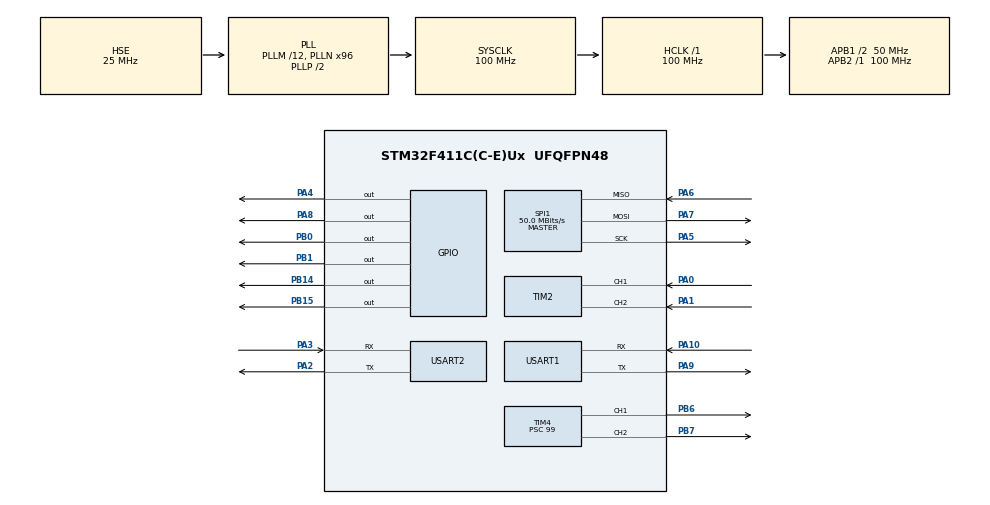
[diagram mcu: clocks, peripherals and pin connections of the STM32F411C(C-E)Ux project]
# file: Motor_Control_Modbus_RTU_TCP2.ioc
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Dma.Request0=USART2_RX
Dma.Request1=USART2_TX
Dma.USART2_RX.0.Direction=DMA_PERIPH_TO_MEMORY
Dma.USART2_RX.0.FIFOMode=DMA_FIFOMODE_DISABLE
Dma.USART2_RX.0.Instance=DMA1_Stream5
Dma.USART2_RX.0.MemDataAlignment=DMA_MDATAALIGN_BYTE
Dma.USART2_RX.0.MemInc=DMA_MINC_ENABLE
Dma.USART2_RX.0.Mode=DMA_CIRCULAR
Dma.USART2_RX.0.PeriphDataAlignment=DMA_PDATAALIGN_BYTE
Dma.USART2_RX.0.PeriphInc=DMA_PINC_DISABLE
Dma.USART2_RX.0.Priority=DMA_PRIORITY_LOW
Dma.USART2_TX.1.Direction=DMA_MEMORY_TO_PERIPH
Dma.USART2_TX.1.FIFOMode=DMA_FIFOMODE_DISABLE
Dma.USART2_TX.1.Instance=DMA1_Stream6
Dma.USART2_TX.1.MemDataAlignment=DMA_MDATAALIGN_BYTE
Dma.USART2_TX.1.MemInc=DMA_MINC_ENABLE
Dma.USART2_TX.1.Mode=DMA_NORMAL
Dma.USART2_TX.1.PeriphDataAlignment=DMA_PDATAALIGN_BYTE
Dma.USART2_TX.1.PeriphInc=DMA_PINC_DISABLE
Dma.USART2_TX.1.Priority=DMA_PRIORITY_LOW
FREERTOS.Tasks01=MODBUS_TCP_Task,16,256,Start_MODBUS_TCP_Task,Default,NULL,Dynamic,NULL,NULL;MODBUS_RTU_Task,24,256,Start_MODBUS_RTU_Task,Default,NULL,Dynamic,NULL,NULL;Monitor_Task,8,540,Start_Monitor_Task,Default,NULL,Dynamic,NULL,NULL;Watchdog_Task,8,128,Start_Watchdog_Task,Default,NULL,Dynamic,NULL,NULL;Motor_Task,40,512,Start_Motor_Task,Default,NULL,Dynamic,NULL,NULL
FREERTOS.configCHECK_FOR_STACK_OVERFLOW=2
FREERTOS.configGENERATE_RUN_TIME_STATS=1
FREERTOS.configUSE_IDLE_HOOK=1
FREERTOS.configUSE_NEWLIB_REENTRANT=1
FREERTOS.configUSE_STATS_FORMATTING_FUNCTIONS=1
IWDG.Prescaler=IWDG_PRESCALER_16
IWDG.Reload=3000
Mcu.Family=STM32F4
Mcu.Name=STM32F411C(C-E)Ux
Mcu.Package=UFQFPN48
NVIC.DMA1_Stream5_IRQn=true\:5\:0\:false\:false\:true\:true\:false\:true\:true
NVIC.DMA1_Stream6_IRQn=true\:5\:0\:false\:false\:true\:true\:false\:true\:true
NVIC.PriorityGroup=NVIC_PRIORITYGROUP_4
NVIC.SPI1_IRQn=true\:5\:0\:false\:false\:true\:true\:true\:true\:true
NVIC.TIM1_BRK_TIM9_IRQn=true\:5\:0\:false\:false\:true\:true\:true\:true\:true
NVIC.TIM1_TRG_COM_TIM11_IRQn=true\:15\:0\:false\:false\:true\:false\:false\:true\:true
NVIC.TIM1_UP_TIM10_IRQn=true\:5\:0\:false\:false\:true\:true\:true\:true\:true
NVIC.TimeBase=TIM1_TRG_COM_TIM11_IRQn
NVIC.TimeBaseIP=TIM11
NVIC.USART2_IRQn=true\:5\:0\:false\:false\:true\:true\:true\:true\:true
PA0-WKUP.Signal=S_TIM2_CH1_ETR
PA1.Signal=S_TIM2_CH2
PA10.Mode=Asynchronous
PA10.Signal=USART1_RX
PA2.Mode=Asynchronous
PA2.Signal=USART2_TX
PA3.Mode=Asynchronous
PA3.Signal=USART2_RX
PA4.Signal=GPIO_Output
PA5.Mode=Full_Duplex_Master
PA5.Signal=SPI1_SCK
PA6.Mode=Full_Duplex_Master
PA6.Signal=SPI1_MISO
PA7.Mode=Full_Duplex_Master
PA7.Signal=SPI1_MOSI
PA8.Signal=GPIO_Output
PA9.Mode=Asynchronous
PA9.Signal=USART1_TX
PB0.Signal=GPIO_Output
PB1.Signal=GPIO_Output
PB14.Signal=GPIO_Output
PB15.Signal=GPIO_Output
PB6.Signal=S_TIM4_CH1
PB7.Signal=S_TIM4_CH2
PH0\ -\ OSC_IN.Mode=HSE-External-Oscillator
PH0\ -\ OSC_IN.Signal=RCC_OSC_IN
PH1\ -\ OSC_OUT.Mode=HSE-External-Oscillator
PH1\ -\ OSC_OUT.Signal=RCC_OSC_OUT
ProjectManager.HeapSize=0x200
ProjectManager.StackSize=0x400
ProjectManager.TargetToolchain=STM32CubeIDE
RCC.48MHZClocksFreq_Value=50000000
RCC.AHBFreq_Value=100000000
RCC.APB1CLKDivider=RCC_HCLK_DIV2
RCC.APB1Freq_Value=50000000
RCC.APB1TimFreq_Value=100000000
RCC.APB2Freq_Value=100000000
RCC.APB2TimFreq_Value=100000000
RCC.CortexFreq_Value=100000000
RCC.HCLKFreq_Value=100000000
RCC.HSE_VALUE=25000000
RCC.HSI_VALUE=16000000
RCC.LSE_VALUE=32768
RCC.PLLM=12
RCC.PLLN=96
RCC.PLLSourceVirtual=RCC_PLLSOURCE_HSE
RCC.SYSCLKFreq_VALUE=100000000
RCC.SYSCLKSource=RCC_SYSCLKSOURCE_PLLCLK
RCC.VCOOutputFreq_Value=200000000
SH.S_TIM2_CH1_ETR.0=TIM2_CH1,Encoder_Interface
SH.S_TIM2_CH2.0=TIM2_CH2,Encoder_Interface
SH.S_TIM4_CH1.0=TIM4_CH1,PWM Generation1 CH1
SH.S_TIM4_CH2.0=TIM4_CH2,PWM Generation2 CH2
SPI1.CalculateBaudRate=50.0 MBits/s
SPI1.Direction=SPI_DIRECTION_2LINES
SPI1.Mode=SPI_MODE_MASTER
SPI1.VirtualType=VM_MASTER
TIM10.Period=999
TIM2.AutoReloadPreload=TIM_AUTORELOAD_PRELOAD_ENABLE
TIM2.EncoderMode=TIM_ENCODERMODE_TI12
TIM2.IC1Filter=6
TIM2.IC2Filter=6
TIM4.Channel-PWM\ Generation1\ CH1=TIM_CHANNEL_1
TIM4.Channel-PWM\ Generation2\ CH2=TIM_CHANNEL_2
TIM4.Period=799
TIM4.Prescaler=99
TIM9.Period=999
TIM9.Prescaler=99
USART1.VirtualMode=VM_ASYNC
USART2.VirtualMode=VM_ASYNC
VP_FREERTOS_VS_CMSIS_V2.Mode=CMSIS_V2
VP_IWDG_VS_IWDG.Mode=IWDG_Activate
VP_SYS_VS_tim11.Mode=TIM11
VP_TIM10_VS_ClockSourceINT.Mode=Enable_Timer
VP_TIM9_VS_ClockSourceINT.Mode=Internal
board=custom

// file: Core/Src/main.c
/* USER CODE BEGIN Header */
/**
  ******************************************************************************
  * @file           : main.c
  * @brief          : Main program body
  ******************************************************************************
  * @attention
  *
  * Copyright (c) 2026 STMicroelectronics.
  * All rights reserved.
  *
  * This software is licensed under terms that can be found in the LICENSE file
  * in the root directory of this software component.
  * If no LICENSE file comes with this software, it is provided AS-IS.
  *
  ******************************************************************************
  */
/* USER CODE END Header */
#include "main.h"
#include "cmsis_os.h"

/* USER CODE BEGIN Includes */
#include <string.h>
#include <stdio.h>
#include <stdlib.h>
#include <math.h>
#include "motor.h"
#include "uart_rs_485.h"
#include "register_map.h"
#include "wizchip_conf.h"
#include "socket.h"
#include "ethernet_config.h"
#include "ethernet.h"
/* USER CODE END Includes */

IWDG_HandleTypeDef hiwdg;

SPI_HandleTypeDef hspi1;

TIM_HandleTypeDef htim2;
TIM_HandleTypeDef htim4;
TIM_HandleTypeDef htim9;
TIM_HandleTypeDef htim10;

UART_HandleTypeDef huart1;
UART_HandleTypeDef huart2;
DMA_HandleTypeDef hdma_usart2_rx;
DMA_HandleTypeDef hdma_usart2_tx;

/* Definitions for MODBUS_TCP_Task */
osThreadId_t MODBUS_TCP_TaskHandle;
const osThreadAttr_t MODBUS_TCP_Task_attributes = {
  .name = "MODBUS_TCP_Task",
  .stack_size = 256 * 4,
  .priority = (osPriority_t) osPriorityBelowNormal,
};
/* Definitions for MODBUS_RTU_Task */
osThreadId_t MODBUS_RTU_TaskHandle;
const osThreadAttr_t MODBUS_RTU_Task_attributes = {
  .name = "MODBUS_RTU_Task",
  .stack_size = 256 * 4,
  .priority = (osPriority_t) osPriorityNormal,
};
/* Definitions for Monitor_Task */
osThreadId_t Monitor_TaskHandle;
const osThreadAttr_t Monitor_Task_attributes = {
  .name = "Monitor_Task",
  .stack_size = 540 * 4,
  .priority = (osPriority_t) osPriorityLow,
};
/* Definitions for Watchdog_Task */
osThreadId_t Watchdog_TaskHandle;
const osThreadAttr_t Watchdog_Task_attributes = {
  .name = "Watchdog_Task",
  .stack_size = 128 * 4,
  .priority = (osPriority_t) osPriorityLow,
};
/* Definitions for Motor_Task */
osThreadId_t Motor_TaskHandle;
const osThreadAttr_t Motor_Task_attributes = {
  .name = "Motor_Task",
  .stack_size = 128 * 4,
  .priority = (osPriority_t) osPriorityHigh,
};

void SystemClock_Config(void);
static void MX_GPIO_Init(void);
static void MX_DMA_Init(void);
static void MX_TIM2_Init(void);
static void MX_TIM4_Init(void);
static void MX_USART2_UART_Init(void);
static void MX_TIM10_Init(void);
static void MX_USART1_UART_Init(void);
static void MX_TIM9_Init(void);
static void MX_SPI1_Init(void);
static void MX_IWDG_Init(void);
void Start_MODBUS_TCP_Task(void *argument);
void Start_MODBUS_RTU_Task(void *argument);
void Start_Monitor_Task(void *argument);
void Start_Watchdog_Task(void *argument);
void Start_Motor_Task(void *argument);

/* USER CODE BEGIN 0 */
extern volatile int32_t encoder_position;
extern volatile uint32_t encoder_last_cnt;
extern volatile float motor_rpm;
extern volatile float pwm;
extern volatile float target_rpm_cmd;
extern volatile float target_rpm_ramped;
extern volatile int32_t target_position;
extern volatile float position_speed_cmd;
extern volatile uint8_t position_reached;
extern PID_t motor_pid;

extern MotorMode_t motor_mode;

extern uint8_t rx_buf[RX_BUF_SIZE];
extern volatile uint8_t uart_idle_flag;
static volatile uint32_t rx_last_pos = 0;
volatile uint32_t uart_rx_total_bytes = 0;
extern volatile uint32_t rx_overflow_count;
extern volatile uint8_t rx_overflow_flag;
uint32_t last_bmp_tick = 0;
uint8_t line_buf[LINE_MAX_LEN];
volatile float motor_rpm_raw = 0;
uint8_t speed_locked;
float locked_pwm;

volatile uint32_t wd_tcp_counter = 0;
volatile uint32_t wd_rtu_counter = 0;
volatile uint32_t wd_control_counter = 0;

volatile uint32_t ulHighFrequencyTimerTicks = 0U;

void configureTimerForRunTimeStats(void){
	ulHighFrequencyTimerTicks = 0U;
	HAL_TIM_Base_Start_IT(&htim10);
}
unsigned long getRunTimeCounterValue(void){
	return (unsigned long)ulHighFrequencyTimerTicks;
}
/* USER CODE END 0 */

int main(void)
{

  /* MCU Configuration--------------------------------------------------------*/

  /* Reset of all peripherals, Initializes the Flash interface and the Systick. */
  HAL_Init();

  /* Configure the system clock */
  SystemClock_Config();

  /* Initialize all configured peripherals */
  MX_GPIO_Init();
  MX_DMA_Init();
  MX_TIM2_Init();
  MX_TIM4_Init();
  MX_USART2_UART_Init();
  MX_TIM10_Init();
  MX_USART1_UART_Init();
  MX_TIM9_Init();
  MX_SPI1_Init();
  MX_IWDG_Init();
  /* USER CODE BEGIN 2 */
  Encoder_Start();
  HAL_TIM_PWM_Start(&htim4, TIM_CHANNEL_1);
  HAL_TIM_PWM_Start(&htim4, TIM_CHANNEL_2);
  RS485_RX_ENABLE();
  __HAL_UART_ENABLE_IT(&huart2, UART_IT_TC);
  uart_dma_rx_start();
  reg_wizchip_cs_cbfunc(wizchip_select, wizchip_deselect);
  reg_wizchip_spi_cbfunc(wizchip_read, wizchip_write);
  W5500_Reset();
  uint8_t txsize[8] = {2,2,2,2,2,2,2,2};
  uint8_t rxsize[8] = {2,2,2,2,2,2,2,2};
  wizchip_init(txsize, rxsize);
  Ethernet_Init();
  HAL_TIM_Base_Start_IT(&htim9);
  /* USER CODE END 2 */

  /* Init scheduler */
  osKernelInitialize();

  /* Create the thread(s) */
  /* creation of MODBUS_TCP_Task */
  MODBUS_TCP_TaskHandle = osThreadNew(Start_MODBUS_TCP_Task, NULL, &MODBUS_TCP_Task_attributes);

  /* creation of MODBUS_RTU_Task */
  MODBUS_RTU_TaskHandle = osThreadNew(Start_MODBUS_RTU_Task, NULL, &MODBUS_RTU_Task_attributes);

  /* creation of Monitor_Task */
  Monitor_TaskHandle = osThreadNew(Start_Monitor_Task, NULL, &Monitor_Task_attributes);

  /* creation of Watchdog_Task */
  Watchdog_TaskHandle = osThreadNew(Start_Watchdog_Task, NULL, &Watchdog_Task_attributes);

  /* creation of Motor_Task */
  Motor_TaskHandle = osThreadNew(Start_Motor_Task, NULL, &Motor_Task_attributes);

  /* Start scheduler */
  osKernelStart();

  /* We should never get here as control is now taken by the scheduler */

  /* Infinite loop */
  while (1)
  {

  }
}

void SystemClock_Config(void)
{
  RCC_OscInitTypeDef RCC_OscInitStruct = {0};
  RCC_ClkInitTypeDef RCC_ClkInitStruct = {0};

  /** Configure the main internal regulator output voltage
  */
  __HAL_RCC_PWR_CLK_ENABLE();
  __HAL_PWR_VOLTAGESCALING_CONFIG(PWR_REGULATOR_VOLTAGE_SCALE1);

  /** Initializes the RCC Oscillators according to the specified parameters
  * in the RCC_OscInitTypeDef structure.
  */
  RCC_OscInitStruct.OscillatorType = RCC_OSCILLATORTYPE_LSI|RCC_OSCILLATORTYPE_HSE;
  RCC_OscInitStruct.HSEState = RCC_HSE_ON;
  RCC_OscInitStruct.LSIState = RCC_LSI_ON;
  RCC_OscInitStruct.PLL.PLLState = RCC_PLL_ON;
  RCC_OscInitStruct.PLL.PLLSource = RCC_PLLSOURCE_HSE;
  RCC_OscInitStruct.PLL.PLLM = 12;
  RCC_OscInitStruct.PLL.PLLN = 96;
  RCC_OscInitStruct.PLL.PLLP = RCC_PLLP_DIV2;
  RCC_OscInitStruct.PLL.PLLQ = 4;
  if (HAL_RCC_OscConfig(&RCC_OscInitStruct) != HAL_OK)
  {
    Error_Handler();
  }

  /** Initializes the CPU, AHB and APB buses clocks
  */
  RCC_ClkInitStruct.ClockType = RCC_CLOCKTYPE_HCLK|RCC_CLOCKTYPE_SYSCLK
                              |RCC_CLOCKTYPE_PCLK1|RCC_CLOCKTYPE_PCLK2;
  RCC_ClkInitStruct.SYSCLKSource = RCC_SYSCLKSOURCE_PLLCLK;
  RCC_ClkInitStruct.AHBCLKDivider = RCC_SYSCLK_DIV1;
  RCC_ClkInitStruct.APB1CLKDivider = RCC_HCLK_DIV2;
  RCC_ClkInitStruct.APB2CLKDivider = RCC_HCLK_DIV1;

  if (HAL_RCC_ClockConfig(&RCC_ClkInitStruct, FLASH_LATENCY_3) != HAL_OK)
  {
    Error_Handler();
  }
}

static void MX_IWDG_Init(void)
{

  hiwdg.Instance = IWDG;
  hiwdg.Init.Prescaler = IWDG_PRESCALER_16;
  hiwdg.Init.Reload = 3000;
  if (HAL_IWDG_Init(&hiwdg) != HAL_OK)
  {
    Error_Handler();
  }

}

static void MX_SPI1_Init(void)
{

  /* SPI1 parameter configuration*/
  hspi1.Instance = SPI1;
  hspi1.Init.Mode = SPI_MODE_MASTER;
  hspi1.Init.Direction = SPI_DIRECTION_2LINES;
  hspi1.Init.DataSize = SPI_DATASIZE_8BIT;
  hspi1.Init.CLKPolarity = SPI_POLARITY_LOW;
  hspi1.Init.CLKPhase = SPI_PHASE_1EDGE;
  hspi1.Init.NSS = SPI_NSS_SOFT;
  hspi1.Init.BaudRatePrescaler = SPI_BAUDRATEPRESCALER_2;
  hspi1.Init.FirstBit = SPI_FIRSTBIT_MSB;
  hspi1.Init.TIMode = SPI_TIMODE_DISABLE;
  hspi1.Init.CRCCalculation = SPI_CRCCALCULATION_DISABLE;
  hspi1.Init.CRCPolynomial = 10;
  if (HAL_SPI_Init(&hspi1) != HAL_OK)
  {
    Error_Handler();
  }

}

static void MX_TIM2_Init(void)
{

  TIM_Encoder_InitTypeDef sConfig = {0};
  TIM_MasterConfigTypeDef sMasterConfig = {0};

  htim2.Instance = TIM2;
  htim2.Init.Prescaler = 0;
  htim2.Init.CounterMode = TIM_COUNTERMODE_UP;
  htim2.Init.Period = 4294967295;
  htim2.Init.ClockDivision = TIM_CLOCKDIVISION_DIV1;
  htim2.Init.AutoReloadPreload = TIM_AUTORELOAD_PRELOAD_ENABLE;
  sConfig.EncoderMode = TIM_ENCODERMODE_TI12;
  sConfig.IC1Polarity = TIM_ICPOLARITY_RISING;
  sConfig.IC1Selection = TIM_ICSELECTION_DIRECTTI;
  sConfig.IC1Prescaler = TIM_ICPSC_DIV1;
  sConfig.IC1Filter = 6;
  sConfig.IC2Polarity = TIM_ICPOLARITY_RISING;
  sConfig.IC2Selection = TIM_ICSELECTION_DIRECTTI;
  sConfig.IC2Prescaler = TIM_ICPSC_DIV1;
  sConfig.IC2Filter = 6;
  if (HAL_TIM_Encoder_Init(&htim2, &sConfig) != HAL_OK)
  {
    Error_Handler();
  }
  sMasterConfig.MasterOutputTrigger = TIM_TRGO_RESET;
  sMasterConfig.MasterSlaveMode = TIM_MASTERSLAVEMODE_DISABLE;
  if (HAL_TIMEx_MasterConfigSynchronization(&htim2, &sMasterConfig) != HAL_OK)
  {
    Error_Handler();
  }

}

static void MX_TIM4_Init(void)
{

  TIM_MasterConfigTypeDef sMasterConfig = {0};
  TIM_OC_InitTypeDef sConfigOC = {0};

  htim4.Instance = TIM4;
  htim4.Init.Prescaler = 99;
  htim4.Init.CounterMode = TIM_COUNTERMODE_UP;
  htim4.Init.Period = 799;
  htim4.Init.ClockDivision = TIM_CLOCKDIVISION_DIV1;
  htim4.Init.AutoReloadPreload = TIM_AUTORELOAD_PRELOAD_DISABLE;
  if (HAL_TIM_PWM_Init(&htim4) != HAL_OK)
  {
    Error_Handler();
  }
  sMasterConfig.MasterOutputTrigger = TIM_TRGO_RESET;
  sMasterConfig.MasterSlaveMode = TIM_MASTERSLAVEMODE_DISABLE;
  if (HAL_TIMEx_MasterConfigSynchronization(&htim4, &sMasterConfig) != HAL_OK)
  {
    Error_Handler();
  }
  sConfigOC.OCMode = TIM_OCMODE_PWM1;
  sConfigOC.Pulse = 0;
  sConfigOC.OCPolarity = TIM_OCPOLARITY_HIGH;
  sConfigOC.OCFastMode = TIM_OCFAST_DISABLE;
  if (HAL_TIM_PWM_ConfigChannel(&htim4, &sConfigOC, TIM_CHANNEL_1) != HAL_OK)
  {
    Error_Handler();
  }
  if (HAL_TIM_PWM_ConfigChannel(&htim4, &sConfigOC, TIM_CHANNEL_2) != HAL_OK)
  {
    Error_Handler();
  }
  HAL_TIM_MspPostInit(&htim4);

}

static void MX_TIM9_Init(void)
{

  TIM_ClockConfigTypeDef sClockSourceConfig = {0};

  htim9.Instance = TIM9;
  htim9.Init.Prescaler = 99;
  htim9.Init.CounterMode = TIM_COUNTERMODE_UP;
  htim9.Init.Period = 1999;
  htim9.Init.ClockDivision = TIM_CLOCKDIVISION_DIV1;
  htim9.Init.AutoReloadPreload = TIM_AUTORELOAD_PRELOAD_DISABLE;
  if (HAL_TIM_Base_Init(&htim9) != HAL_OK)
  {
    Error_Handler();
  }
  sClockSourceConfig.ClockSource = TIM_CLOCKSOURCE_INTERNAL;
  if (HAL_TIM_ConfigClockSource(&htim9, &sClockSourceConfig) != HAL_OK)
  {
    Error_Handler();
  }

}

static void MX_TIM10_Init(void)
{

  htim10.Instance = TIM10;
  htim10.Init.Prescaler = 0;
  htim10.Init.CounterMode = TIM_COUNTERMODE_UP;
  htim10.Init.Period = 999;
  htim10.Init.ClockDivision = TIM_CLOCKDIVISION_DIV1;
  htim10.Init.AutoReloadPreload = TIM_AUTORELOAD_PRELOAD_DISABLE;
  if (HAL_TIM_Base_Init(&htim10) != HAL_OK)
  {
    Error_Handler();
  }

}

static void MX_USART1_UART_Init(void)
{

  huart1.Instance = USART1;
  huart1.Init.BaudRate = 115200;
  huart1.Init.WordLength = UART_WORDLENGTH_8B;
  huart1.Init.StopBits = UART_STOPBITS_1;
  huart1.Init.Parity = UART_PARITY_NONE;
  huart1.Init.Mode = UART_MODE_TX_RX;
  huart1.Init.HwFlowCtl = UART_HWCONTROL_NONE;
  huart1.Init.OverSampling = UART_OVERSAMPLING_16;
  if (HAL_UART_Init(&huart1) != HAL_OK)
  {
    Error_Handler();
  }

}

static void MX_USART2_UART_Init(void)
{

  huart2.Instance = USART2;
  huart2.Init.BaudRate = 115200;
  huart2.Init.WordLength = UART_WORDLENGTH_8B;
  huart2.Init.StopBits = UART_STOPBITS_1;
  huart2.Init.Parity = UART_PARITY_NONE;
  huart2.Init.Mode = UART_MODE_TX_RX;
  huart2.Init.HwFlowCtl = UART_HWCONTROL_NONE;
  huart2.Init.OverSampling = UART_OVERSAMPLING_16;
  if (HAL_UART_Init(&huart2) != HAL_OK)
  {
    Error_Handler();
  }

}

static void MX_DMA_Init(void)
{

  /* DMA controller clock enable */
  __HAL_RCC_DMA1_CLK_ENABLE();

  /* DMA interrupt init */
  /* DMA1_Stream5_IRQn interrupt configuration */
  HAL_NVIC_SetPriority(DMA1_Stream5_IRQn, 5, 0);
  HAL_NVIC_EnableIRQ(DMA1_Stream5_IRQn);
  /* DMA1_Stream6_IRQn interrupt configuration */
  HAL_NVIC_SetPriority(DMA1_Stream6_IRQn, 5, 0);
  HAL_NVIC_EnableIRQ(DMA1_Stream6_IRQn);

}

static void MX_GPIO_Init(void)
{
  GPIO_InitTypeDef GPIO_InitStruct = {0};

  /* GPIO Ports Clock Enable */
  __HAL_RCC_GPIOH_CLK_ENABLE();
  __HAL_RCC_GPIOA_CLK_ENABLE();
  __HAL_RCC_GPIOB_CLK_ENABLE();

  /*Configure GPIO pin Output Level */
  HAL_GPIO_WritePin(GPIOA, GPIO_PIN_4|GPIO_PIN_8, GPIO_PIN_RESET);

  /*Configure GPIO pin Output Level */
  HAL_GPIO_WritePin(GPIOB, GPIO_PIN_0|GPIO_PIN_1|GPIO_PIN_14|GPIO_PIN_15, GPIO_PIN_RESET);

  /*Configure GPIO pins : PA4 PA8 */
  GPIO_InitStruct.Pin = GPIO_PIN_4|GPIO_PIN_8;
  GPIO_InitStruct.Mode = GPIO_MODE_OUTPUT_PP;
  GPIO_InitStruct.Pull = GPIO_NOPULL;
  GPIO_InitStruct.Speed = GPIO_SPEED_FREQ_LOW;
  HAL_GPIO_Init(GPIOA, &GPIO_InitStruct);

  /*Configure GPIO pins : PB0 PB1 PB14 PB15 */
  GPIO_InitStruct.Pin = GPIO_PIN_0|GPIO_PIN_1|GPIO_PIN_14|GPIO_PIN_15;
  GPIO_InitStruct.Mode = GPIO_MODE_OUTPUT_PP;
  GPIO_InitStruct.Pull = GPIO_NOPULL;
  GPIO_InitStruct.Speed = GPIO_SPEED_FREQ_LOW;
  HAL_GPIO_Init(GPIOB, &GPIO_InitStruct);

}

void Start_MODBUS_TCP_Task(void *argument)
{
  /* USER CODE BEGIN 5 */
  /* Infinite loop */
  for(;;)
  {
	  TCP_Server();
	  wd_tcp_counter++;
	  osDelay(2);
  }
  /* USER CODE END 5 */
}

void Start_MODBUS_RTU_Task(void *argument)
{
  /* USER CODE BEGIN Start_MODBUS_RTU_Task */
  /* Infinite loop */
  for(;;)
  {
	  if (uart_idle_flag) {
		  uart_idle_flag = 0;

		  uint32_t write_pos = RX_BUF_SIZE - __HAL_DMA_GET_COUNTER(huart2.hdmarx);
		  uint32_t read_pos = rx_last_pos;

		  uint32_t avail;
		  if (write_pos >= read_pos) avail = write_pos - read_pos;
		  else avail = (RX_BUF_SIZE - read_pos) + write_pos;

		  if (avail == 0) {
			  continue;
		  }
		  uart_rx_total_bytes += avail;

		  if (avail >= LINE_MAX_LEN) {
			  rx_overflow_count++;
			  rx_overflow_flag = 1;

			  uint32_t keep = LINE_MAX_LEN - 1;
			  uint32_t skip = avail - keep;

			  read_pos = (read_pos + skip) % RX_BUF_SIZE;
			  avail = keep;
		  }

		  uint32_t first_chunk = RX_BUF_SIZE - read_pos;
		  if (first_chunk > avail) first_chunk = avail;

		  memcpy(line_buf, &rx_buf[read_pos], first_chunk);
		  if (avail > first_chunk) {
			  memcpy(line_buf + first_chunk, &rx_buf[0], avail - first_chunk);
		  }
		  line_buf[avail] = 0;

		  rx_last_pos = (read_pos + avail) % RX_BUF_SIZE;
		  modbus_handle_frame(line_buf, avail);
	  }
	  wd_rtu_counter++;
	  osDelay(1);
  }
  /* USER CODE END Start_MODBUS_RTU_Task */
}

void Start_Monitor_Task(void *argument)
{
  /* USER CODE BEGIN Start_Monitor_Task */
	char statsBuffer[1024];
	  /* Infinite loop */
	  for(;;)
	  {
	    vTaskGetRunTimeStats(statsBuffer);
	    HAL_UART_Transmit(&huart1, (uint8_t*)statsBuffer, strlen(statsBuffer), HAL_MAX_DELAY);
	    const char *nl = "\r\n";
	    HAL_UART_Transmit(&huart1, (uint8_t*)nl, 2, HAL_MAX_DELAY);
	    TaskStatus_t pxTaskStatusArray[10];
	    UBaseType_t uxArraySize;
	    uint32_t totalRunTime;
	    uxArraySize = uxTaskGetSystemState(pxTaskStatusArray, 10, &totalRunTime);

	    HAL_UART_Transmit(&huart1, (uint8_t*)"\nStack Usage:\n", 14, 100);

	    for (int i = 0; i < uxArraySize; i++)
	    {
	        char line[64];
	        sprintf(line,
	            "%s -> Free stack: %i bytes\r\n",
	            pxTaskStatusArray[i].pcTaskName,
	            pxTaskStatusArray[i].usStackHighWaterMark * 4
	        );
	        HAL_UART_Transmit(&huart1, (uint8_t*)line, strlen(line), 100);
	    }

	    osDelay(5000);
	  }
  /* USER CODE END Start_Monitor_Task */
}

void Start_Watchdog_Task(void *argument)
{
  /* USER CODE BEGIN Start_Watchdog_Task */
  /* Infinite loop */
	uint32_t last_tcp = 0;
	uint32_t last_rtu = 0;
	uint32_t last_control = 0;

	for(;;)
	{
		uint8_t tcp_ok = 0;
		uint8_t rtu_ok = 0;
		uint8_t control_ok = 0;

		if(wd_tcp_counter != last_tcp)
		{
			tcp_ok = 1;
			last_tcp = wd_tcp_counter;
		}

		if(wd_rtu_counter != last_rtu)
		{
			rtu_ok = 1;
			last_rtu = wd_rtu_counter;
		}

		if(wd_control_counter != last_control)
		{
			control_ok = 1;
			last_control = wd_control_counter;
		}

		if(tcp_ok && rtu_ok && control_ok)
		{
			HAL_IWDG_Refresh(&hiwdg);
		}
		osDelay(100);
	}
  /* USER CODE END Start_Watchdog_Task */
}

void Start_Motor_Task(void *argument)
{
  /* USER CODE BEGIN Start_Motor_Task */
  /* Infinite loop */
  for(;;)
  {
	  ulTaskNotifyTake(pdTRUE, portMAX_DELAY);
	  motor_mode = (MotorMode_t)holding_regs[REG_MODE];
	  int16_t rpm_cmd = (int16_t)holding_regs[REG_TARGET_RPM];
	  target_rpm_cmd = (float)rpm_cmd;
	  int16_t pos_cmd = (int16_t)holding_regs[REG_TARGET_POSITION];
	  target_position = (pos_cmd * ENCODER_CPR * 36)/360;
	  switch (motor_mode)
	  {
		  case MOTOR_MODE_IDLE:
		  {
			  Motor_SetPWM(0);
			  speed_locked = 0;
			  locked_pwm = 0;
			  target_rpm_cmd = 0;
			  target_rpm_ramped = 0;
			  encoder_last_cnt = TIM2->CNT;
			  encoder_position = 0;
			  pwm = 0;
			  motor_rpm = 0;
			  PID_Reset(&motor_pid);
			  break;
		  }
		  case MOTOR_MODE_SPEED:
		  {
			  Ramp_Update();
			  float error = target_rpm_ramped - motor_rpm;
			  if(speed_locked)
			  	  {
				  if(fabs(error) > 10) speed_locked = 0;
				 }

				 if(!speed_locked)
				 {
					 pwm = PID_Update(&motor_pid, target_rpm_ramped, motor_rpm);
					 if(fabs(error) < 5)
					 {
						 speed_locked = 1;
						 locked_pwm = pwm;
					 }
				 }
				 if(speed_locked)
					 Motor_SetPWM(locked_pwm);
				 else
					 Motor_SetPWM(pwm);
				 break;
		  }

		  case MOTOR_MODE_POSITION:
		  {
			  int32_t pos_error = target_position - encoder_position;

			  if (abs(pos_error) <= POSITION_TOLERANCE_COUNTS)
			  {
				  target_rpm_cmd = 0;
					Motor_SetPWM(0);
					PID_Reset(&motor_pid);
					motor_mode = MOTOR_MODE_IDLE;
					holding_regs[REG_MODE] = MOTOR_MODE_IDLE;
				}
			  else{
				  Position_Controller(target_position, encoder_position);
			  }
			  Ramp_Update();
			  pwm = PID_Update(&motor_pid, target_rpm_ramped, motor_rpm);
			  Motor_SetPWM(pwm);
			  break;
		  }
	  }
	  holding_regs[REG_ACTUAL_RPM] =
		  (int16_t)motor_rpm;

	  holding_regs[REG_ACTUAL_POSITION] =
		  (int16_t)encoder_position;

	  holding_regs[REG_PWM_OUTPUT] =
		  (uint16_t)pwm;
	  wd_control_counter++;
  }

  /* USER CODE END Start_Motor_Task */
}

void HAL_TIM_PeriodElapsedCallback(TIM_HandleTypeDef *htim)
{
  if (htim->Instance == TIM11)
  {
    HAL_IncTick();
  }
  /* USER CODE BEGIN Callback 1 */
  if (htim->Instance == TIM9)
  {
	  uint32_t current_cnt = TIM2->CNT;
	  int32_t delta = (int32_t)(current_cnt - encoder_last_cnt);
	  encoder_last_cnt = current_cnt;
	  encoder_position += delta;
	  motor_rpm_raw = (delta * CONTROL_HZ * 60.0f) / ENCODER_CPR;
	  motor_rpm += 0.1f * (motor_rpm_raw - motor_rpm);
	  BaseType_t xHigherPriorityTaskWoken = pdFALSE;
	  vTaskNotifyGiveFromISR(Motor_TaskHandle, &xHigherPriorityTaskWoken);
	  portYIELD_FROM_ISR(xHigherPriorityTaskWoken);
  }
  /* USER CODE END Callback 1 */
}

void Error_Handler(void)
{
  __disable_irq();
  while (1)
  {
  }
}

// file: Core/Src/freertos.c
/* USER CODE BEGIN Header */
/**
  ******************************************************************************
  * File Name          : freertos.c
  * Description        : Code for freertos applications
  ******************************************************************************
  * @attention
  *
  * Copyright (c) 2026 STMicroelectronics.
  * All rights reserved.
  *
  * This software is licensed under terms that can be found in the LICENSE file
  * in the root directory of this software component.
  * If no LICENSE file comes with this software, it is provided AS-IS.
  *
  ******************************************************************************
  */
/* USER CODE END Header */

#include "FreeRTOS.h"
#include "task.h"
#include "main.h"

/* USER CODE BEGIN Includes */
#include <stdio.h>
/* USER CODE END Includes */

/* USER CODE BEGIN Variables */
volatile uint32_t idlecounter = 0;

extern UART_HandleTypeDef huart1;
/* USER CODE END Variables */

/* Hook prototypes */
void configureTimerForRunTimeStats(void);
unsigned long getRunTimeCounterValue(void);
void vApplicationIdleHook(void);
void vApplicationStackOverflowHook(xTaskHandle xTask, signed char *pcTaskName);

/* USER CODE BEGIN 1 */
/* Functions needed when configGENERATE_RUN_TIME_STATS is on */
__weak void configureTimerForRunTimeStats(void)
{

}

__weak unsigned long getRunTimeCounterValue(void)
{
return 0;
}
/* USER CODE END 1 */

/* USER CODE BEGIN 2 */
void vApplicationIdleHook( void )
{
   /* vApplicationIdleHook() will only be called if configUSE_IDLE_HOOK is set
   to 1 in FreeRTOSConfig.h. It will be called on each iteration of the idle
   task. It is essential that code added to this hook function never attempts
   to block in any way (for example, call xQueueReceive() with a block time
   specified, or call vTaskDelay()). If the application makes use of the
   vTaskDelete() API function (as this demo application does) then it is also
   important that vApplicationIdleHook() is permitted to return to its calling
   function, because it is the responsibility of the idle task to clean up
   memory allocated by the kernel to any task that has since been deleted. */
	idlecounter++;
}
/* USER CODE END 2 */

/* USER CODE BEGIN 4 */
void vApplicationStackOverflowHook(xTaskHandle xTask, signed char *pcTaskName)
{
   /* Run time stack overflow checking is performed if
   configCHECK_FOR_STACK_OVERFLOW is defined to 1 or 2. This hook function is
   called if a stack overflow is detected. */
	taskDISABLE_INTERRUPTS();

	char overflow_mes[32];
	int len = snprintf(overflow_mes, sizeof(overflow_mes), "Task caused Overflow: %s\r\n", pcTaskName);
	HAL_UART_Transmit(&huart1, (uint8_t*)overflow_mes, len, HAL_MAX_DELAY);
}
/* USER CODE END 4 */
